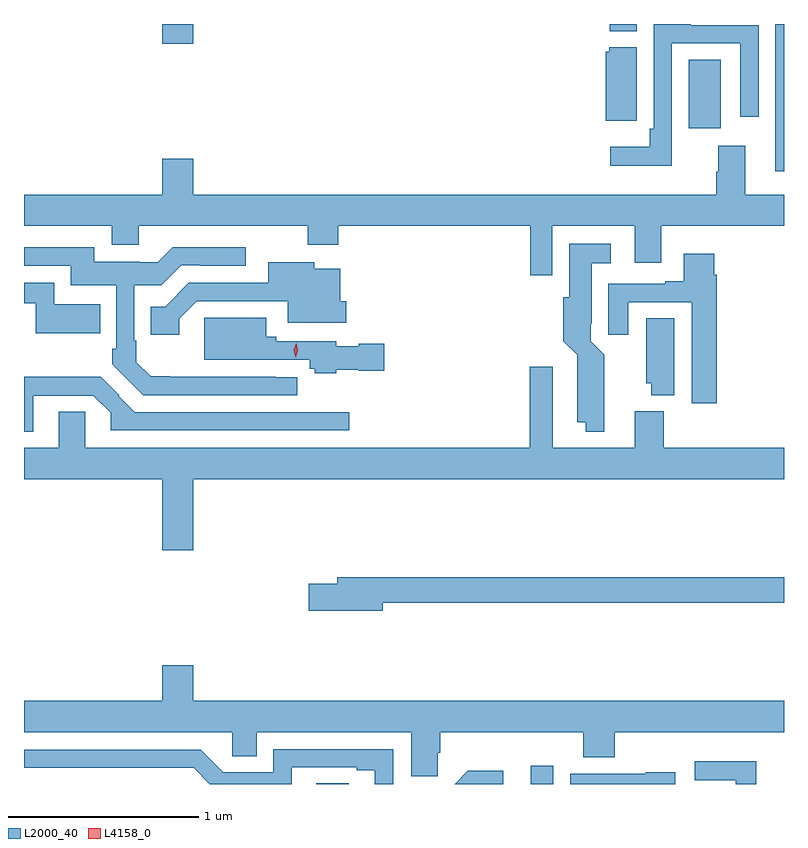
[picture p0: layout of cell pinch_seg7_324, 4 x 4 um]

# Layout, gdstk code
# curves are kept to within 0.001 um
import gdstk
lib = gdstk.Library(unit=1e-6, precision=1e-09)
def R(c, l, rs):  # rectangles x0, y0, x1, y1
    for r in rs: c.add(gdstk.rectangle(r[:2], r[2:], *l))
def P(c, l, *ps):  # polygons
    for p in ps: c.add(gdstk.Polygon(p, *l))
L2000_40 = (2000, 40)
L4158_0 = (4158, 0)

pinch_seg7_324 = lib.new_cell('pinch_seg7_324')
R(pinch_seg7_324, L2000_40, [(369.616,1066.943,369.787,1066.946), (370.745,1066.943,370.863,1067.038), (372.032,1070.169,372.077,1070.943), (371.576,1070.394,371.743,1070.756), (368.804,1070.838,368.968,1070.943), (371.159,1070.906,371.302,1070.943)])
P(pinch_seg7_324, L2000_40, [(371.487,1070.841),(371.847,1070.841),(371.847,1070.454),(371.943,1070.454),(371.943,1070.937),(371.587,1070.937),(371.587,1070.943),(371.391,1070.943),(371.391,1070.392),(371.371,1070.392),(371.371,1070.296),(371.163,1070.296),(371.163,1070.198),(371.487,1070.198)],
  [(371.302,1070.821),(371.157,1070.821),(371.157,1070.796),(371.138,1070.796),(371.138,1070.435),(371.302,1070.435)],
  [(370.857,1069.88),(371.291,1069.88),(371.291,1069.686),(371.431,1069.686),(371.431,1069.88),(372.077,1069.88),(372.077,1070.044),(371.872,1070.044),(371.872,1070.302),(371.732,1070.302),(371.732,1070.165),(371.72,1070.165),(371.72,1070.044),(368.968,1070.044),(368.968,1070.233),(368.804,1070.233),(368.804,1070.044),(368.077,1070.044),(368.077,1069.88),(368.54,1069.88),(368.54,1069.781),(368.68,1069.781),(368.68,1069.88),(369.571,1069.88),(369.571,1069.781),(369.731,1069.781),(369.731,1069.88),(370.741,1069.88),(370.741,1069.62),(370.857,1069.62)],
  [(371.13,1069.1),(371.131,1069.202),(371.061,1069.272),(371.061,1069.366),(371.065,1069.366),(371.065,1069.685),(371.164,1069.685),(371.164,1069.786),(370.946,1069.786),(370.946,1069.506),(370.916,1069.506),(370.916,1069.274),(370.988,1069.202),(370.988,1068.848),(371.033,1068.848),(371.033,1068.797),(371.13,1068.797)],
  [(369.514,1069.084),(369.401,1069.084),(369.401,1069.086),(368.848,1069.086),(368.848,1069.089),(368.744,1069.089),(368.668,1069.164),(368.668,1069.276),(368.658,1069.276),(368.658,1069.569),(368.799,1069.569),(368.904,1069.674),(369.004,1069.674),(369.004,1069.671),(369.244,1069.671),(369.244,1069.768),(368.86,1069.768),(368.781,1069.689),(368.687,1069.689),(368.687,1069.693),(368.446,1069.693),(368.446,1069.767),(368.077,1069.767),(368.077,1069.671),(368.324,1069.671),(368.324,1069.568),(368.562,1069.568),(368.562,1069.234),(368.542,1069.234),(368.542,1069.153),(368.705,1068.99),(369.514,1068.99)],
  [(371.723,1069.622),(371.71,1069.622),(371.71,1069.735),(371.549,1069.735),(371.549,1069.588),(371.453,1069.588),(371.453,1069.575),(371.153,1069.575),(371.153,1069.308),(371.257,1069.308),(371.257,1069.479),(371.591,1069.479),(371.591,1068.948),(371.723,1068.948)],
  [(368.893,1069.393),(368.985,1069.485),(369.464,1069.485),(369.464,1069.37),(369.772,1069.37),(369.772,1069.484),(369.742,1069.484),(369.742,1069.654),(369.604,1069.654),(369.604,1069.69),(369.362,1069.69),(369.362,1069.581),(368.945,1069.581),(368.82,1069.456),(368.743,1069.456),(368.743,1069.308),(368.893,1069.308)],
  [(368.477,1069.468),(368.235,1069.468),(368.235,1069.581),(368.077,1069.581),(368.077,1069.473),(368.139,1069.473),(368.139,1069.316),(368.477,1069.316)],
  [(369.72,1069.124),(369.84,1069.124),(369.84,1069.117),(369.973,1069.117),(369.973,1069.259),(369.84,1069.259),(369.84,1069.246),(369.72,1069.246),(369.72,1069.272),(369.405,1069.272),(369.405,1069.297),(369.352,1069.297),(369.352,1069.396),(369.026,1069.396),(369.026,1069.175),(369.248,1069.175),(369.248,1069.176),(369.582,1069.176),(369.582,1069.128),(369.606,1069.128),(369.606,1069.106),(369.72,1069.106)],
  [(371.5,1069.394),(371.351,1069.394),(371.351,1069.053),(371.378,1069.053),(371.378,1068.989),(371.5,1068.989)],
  [(368.968,1068.548),(372.077,1068.548),(372.077,1068.712),(371.444,1068.712),(371.444,1068.904),(371.291,1068.904),(371.291,1068.712),(370.861,1068.712),(370.861,1069.138),(370.739,1069.138),(370.739,1068.712),(368.4,1068.712),(368.4,1068.902),(368.261,1068.902),(368.261,1068.712),(368.077,1068.712),(368.077,1068.548),(368.804,1068.548),(368.804,1068.174),(368.968,1068.174)],
  [(368.125,1068.987),(368.442,1068.987),(368.533,1068.897),(368.533,1068.804),(369.79,1068.804),(369.79,1068.9),(368.661,1068.9),(368.576,1068.985),(368.579,1068.988),(368.481,1069.086),(368.077,1069.086),(368.077,1068.798),(368.125,1068.798)],
  [(369.964,1067.896),(372.077,1067.896),(372.077,1068.032),(369.725,1068.032),(369.725,1067.996),(369.576,1067.996),(369.576,1067.854),(369.964,1067.854)],
  [(370.254,1067.107),(370.268,1067.107),(370.268,1067.216),(371.021,1067.216),(371.021,1067.083),(371.186,1067.083),(371.186,1067.216),(372.077,1067.216),(372.077,1067.38),(368.968,1067.38),(368.968,1067.569),(368.804,1067.569),(368.804,1067.38),(368.077,1067.38),(368.077,1067.216),(369.174,1067.216),(369.174,1067.089),(369.301,1067.089),(369.301,1067.216),(370.115,1067.216),(370.115,1066.984),(370.254,1066.984)],
  [(369.486,1067.031),(369.827,1067.031),(369.827,1067.016),(369.923,1067.016),(369.923,1066.943),(370.02,1066.943),(370.02,1067.127),(369.39,1067.127),(369.39,1067.004),(369.126,1067.004),(369.006,1067.124),(368.077,1067.124),(368.077,1067.028),(368.97,1067.028),(369.055,1066.943),(369.486,1066.943)],
  [(371.931,1067.062),(371.607,1067.062),(371.607,1066.964),(371.823,1066.964),(371.823,1066.943),(371.931,1066.943)],
  [(370.6,1067.012),(370.412,1067.012),(370.343,1066.943),(370.6,1066.943)],
  [(371.505,1067.005),(371.349,1067.005),(371.349,1066.998),(370.953,1066.998),(370.953,1066.943),(371.505,1066.943)])
P(pinch_seg7_324, L4158_0, [(369.506,1069.19),(369.506,1069.19),(369.497,1069.226),(369.509,1069.262),(369.509,1069.262),(369.509,1069.262),(369.518,1069.226),(369.506,1069.19)])

lib.write_gds('pinch_seg7_324.gds')
